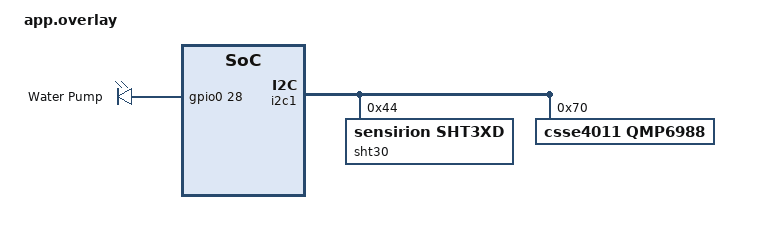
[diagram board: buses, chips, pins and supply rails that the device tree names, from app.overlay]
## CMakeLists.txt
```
# SPDX-License-Identifier: Apache-2.0

cmake_minimum_required(VERSION 3.20.0)

# Custom DTS bindings: add CSSE4011-PROJECT as DTS root only when building
# standalone (outside the firmware west workspace). Inside the workspace,
# firmware/dts/bindings/ is already on the search path — adding it again
# causes a duplicate-compatible conflict.
if(NOT EXISTS "${CMAKE_CURRENT_SOURCE_DIR}/../../dts/bindings")
    list(APPEND DTS_ROOT ${CMAKE_CURRENT_SOURCE_DIR}/..)
endif()

list(APPEND ZEPHYR_EXTRA_MODULES ${CMAKE_CURRENT_SOURCE_DIR}/../drivers)

find_package(Zephyr REQUIRED HINTS $ENV{ZEPHYR_BASE})
project(sensor_node)

list(APPEND CMAKE_MODULE_PATH ${ZEPHYR_BASE}/modules/nanopb)
include(nanopb)

zephyr_nanopb_sources(app ../nanopb_driver/src/sensor_config.proto ../nanopb_driver/src/sensor_info.proto)

FILE(GLOB app_sources src/*.c)
target_sources(app PRIVATE ${app_sources})
target_include_directories(app PRIVATE include ${CMAKE_CURRENT_SOURCE_DIR}/../nanopb_driver/include)
```

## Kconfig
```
# Private config options for nanopb app

# Copyright (c) 2024 Basalte bv
# SPDX-License-Identifier: Apache-2.0

mainmenu "Sensor Node Configs"

config SENSOR_NUM
	int "Number of sensors in system"
	default 3
	help
	  Configure the number of sensors stored.

config MAC_BYTES
    int "Number of bytes in a mac address"
    default 6
    help
        Configure the length in bytes of a mac address

config NUM_READINGS
    int "Number of data readings taken from sensor before erasure of files"
        default 2
        help
            Configure the number of readings taken from sensors before erasing data

config APP_WIPE_STORAGE
	bool "Option to clear the flash area before mounting"
	help
	  Use this to force an existing file system to be created.


source "Kconfig.zephyr"
```

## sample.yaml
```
sample:
  name: sensor_node
  description: Runs a sensor node.

tests:
  sample:
    platform_allow: xiao_ble/nrf52840/sense
    tags: sensor_node
```

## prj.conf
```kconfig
# This is for the NUS BLE.
CONFIG_BT=y
CONFIG_BT_PERIPHERAL=y
CONFIG_BT_DEVICE_NAME="SensorNode"
CONFIG_BT_ZEPHYR_NUS=y
CONFIG_BT_MAX_CONN=1
CONFIG_BT_L2CAP_TX_MTU=247
CONFIG_BT_BUF_ACL_RX_SIZE=251
CONFIG_BT_BUF_ACL_TX_SIZE=251
CONFIG_FPU=y
CONFIG_FPU_SHARING=y
CONFIG_UDC_DRIVER_LOG_LEVEL_OFF=y

# This is for the sensor logic.
CONFIG_SENSOR=y
CONFIG_ADC=y
CONFIG_GPIO=y

# NanoPB
CONFIG_NANOPB=y

# SparkFun soil moisture sensor on AIN0 (P0.02 / D0).
CONFIG_CSSE4011_SOIL=y

# M5Stack ENV III — SHT30 (temp + humidity) + QMP6988 (pressure).
CONFIG_I2C=y
CONFIG_SHT3XD=y
CONFIG_CSSE4011_QMP6988=y


#LittleFS
CONFIG_MAIN_STACK_SIZE=4096

CONFIG_FLASH=y
CONFIG_FLASH_MAP=y

CONFIG_FILE_SYSTEM=y
CONFIG_FILE_SYSTEM_LITTLEFS=y

CONFIG_APP_WIPE_STORAGE=y
CONFIG_DEBUG=y

CONFIG_LOG=y
CONFIG_LOG_MODE_MINIMAL=y
```

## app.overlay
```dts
/ {
    soil1: soil {
        compatible = "csse4011,soil";
        status = "okay";
    };

    /* Water pump on D1 (P0.03) — driven HIGH to turn on */
    pump_ctrl {
        compatible = "gpio-leds";
        pump0: pump_0 {
            gpios = <&gpio0 28 GPIO_ACTIVE_HIGH>;
            label = "Water Pump";
        };
    };

    aliases {
        pump0 = &pump0;
    };
};

&i2c1 {
    status = "okay";

    /* SHT30 — temperature + humidity (Zephyr built-in driver) */
    sht30: sht3xd@44 {
        compatible = "sensirion,sht3xd";
        reg = <0x44>;
    };

    /* QMP6988 — barometric pressure (custom driver) */
    qmp6988: qmp6988@70 {
        compatible = "csse4011,qmp6988";
        reg = <0x70>;
    };
};
```

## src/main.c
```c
#include <zephyr/bluetooth/bluetooth.h>
#include <zephyr/bluetooth/conn.h>
#include <zephyr/bluetooth/uuid.h>
#include <zephyr/bluetooth/gatt.h>
#include <zephyr/bluetooth/services/nus.h>
#include <zephyr/kernel.h>
#include <zephyr/logging/log.h>
#include <zephyr/drivers/sensor.h>
#include <zephyr/drivers/gpio.h>
#include <string.h>
#include "sensor_pb.h"
#include "nanopb_types.h"
#include <sensor_info.pb.h>
#include <sensor_config.pb.h>
#include "sensor_lfs.h"
#include <zephyr/fs/fs.h>
#include <zephyr/fs/littlefs.h>
#include <zephyr/storage/flash_map.h>

LOG_MODULE_REGISTER(sensor_node, LOG_LEVEL_INF);

/* ==========================================================================
 * LED + Pump GPIO
 *   led0 = Red  (automate OFF)
 *   led1 = Green (pump ON)
 *   led0 + led1 = Orange (automate ON, pump OFF)
 *   pump0 = D1 P0.03, HIGH = pump on
 * ========================================================================== */
static const struct gpio_dt_spec led_r  = GPIO_DT_SPEC_GET(DT_ALIAS(led0), gpios);
static const struct gpio_dt_spec led_g  = GPIO_DT_SPEC_GET(DT_ALIAS(led1), gpios);
static const struct gpio_dt_spec pump_pin = GPIO_DT_SPEC_GET(DT_ALIAS(pump0), gpios);

/* Config received from mobile node */
static struct k_mutex g_config_mutex;
static bool    g_automate      = false;
static int32_t g_water_period  = 0;   /* seconds to run pump */
static int32_t g_water_trigger = 0;   /* moisture % threshold to trigger watering */
static bool    g_pump_active   = false;

/* --------------------------------------------------------------------------
 * LED helpers — call while NOT holding any mutex (just GPIO ops)
 * -------------------------------------------------------------------------- */
static void led_state_automate_off(void)
{
	/* Red only */
	gpio_pin_set_dt(&led_r, 1);
	gpio_pin_set_dt(&led_g, 0);
}

static void led_state_automate_on(void)
{
	/* Orange = Red + Green */
	gpio_pin_set_dt(&led_r, 1);
	gpio_pin_set_dt(&led_g, 1);
}

static void led_state_pump_on(void)
{
	/* Green only */
	gpio_pin_set_dt(&led_r, 0);
	gpio_pin_set_dt(&led_g, 1);
}

/* --------------------------------------------------------------------------
 * Pump off — scheduled work item fires after water_period seconds
 * -------------------------------------------------------------------------- */
static void pump_off_work_fn(struct k_work *work)
{
	gpio_pin_set_dt(&pump_pin, 0);
	g_pump_active = false;
	printk("Pump OFF\n");
	/* Return LED to orange (automate still on) */
	led_state_automate_on();
}
static K_WORK_DELAYABLE_DEFINE(pump_off_work, pump_off_work_fn);

/* Turn pump on for 'seconds' seconds — no-op if already running */
static void pump_on(int32_t seconds)
{
	if (g_pump_active) {
		return;
	}
	gpio_pin_set_dt(&pump_pin, 1);
	g_pump_active = true;
	printk("Pump ON for %d seconds (moisture below trigger)\n", seconds);
	led_state_pump_on();
	k_work_schedule(&pump_off_work, K_SECONDS(seconds));
}

/* Custom channel for soil moisture percentage */
#define SENSOR_CHAN_SOIL_MOISTURE ((enum sensor_channel)(SENSOR_CHAN_PRIV_START + 1))

#define SENSOR_READ_INTERVAL_S 30
#define SENSOR_THREAD_STACK    2048 * 2
#define FILE_WRITE_THREAD_STACK 2048 * 2
#define SENSOR_THREAD_PRIO     5
#define FILE_WRITE_THREAD_PRIO 6

//Struct which represents the LittleFS architecture
FS_LITTLEFS_DECLARE_DEFAULT_CONFIG(storage);
static struct fs_mount_t lfs_storage_mnt = {
	.type = FS_LITTLEFS,
	.fs_data = &storage,
	.storage_dev = (void *)FIXED_PARTITION_ID(storage_partition),
	.mnt_point = "/lfs",
};

//Global pointer to the mountpoint
struct fs_mount_t *mountpoint = &lfs_storage_mnt;

//name of the file that past readings are being stored in
static const char *readings_filename = "readings.txt";

//Full path of the file where past readings are being stored
static char readings_path[MAX_PATH_LEN];

//File where past readings are being stored
static struct fs_file_t readings_file;

/* A mutex protects it because the sensor thread writes and the BLE
 * callback reads at the same time. */
static SensorNode g_node = SensorNode_init_zero;
static struct k_mutex g_node_mutex;

//A mutex to guard the file
K_MUTEX_DEFINE(file_mutex);

//A msgq that to send information between a sensor thread and a file writing thread
K_MSGQ_DEFINE(file_write_msgq,
              sizeof(DataReadings),
              10,
              4);

//number of times we have read the sensors
static int num_reads = 0;

/* Set by nus_notif_enabled after a successful BLE send.
 * file_write_thread checks this and truncates the file — keeps flash I/O
 * out of the BLE callback so the connection doesn't time out. */
static atomic_t g_file_needs_clear = ATOMIC_INIT(0);

/* If the readings array is already full (max 24 set by CONFIG_NUM_READINGS),
 * the oldest entry is dropped by shifting everything left so we always
 * keep the most recent data rather than silently discarding new readings. */
static void add_reading(int32_t temp, int32_t humidity,
			int32_t pressure, int32_t moisture)
{
	k_mutex_lock(&g_node_mutex, K_FOREVER);
	pb_size_t max = (pb_size_t)ARRAY_SIZE(g_node.readings);
	if (g_node.readings_count >= max) {
		/* Full — shift left to drop oldest, safe because we own the mutex */
		memmove(&g_node.readings[0], &g_node.readings[1],
			(max - 1) * sizeof(DataReadings));
		g_node.readings_count = max - 1;
	}
	pb_size_t i = g_node.readings_count;
	g_node.readings[i].temp      = temp;
	g_node.readings[i].humidity  = humidity;
	g_node.readings[i].pressure  = pressure;
	g_node.readings[i].moisture  = moisture;
	g_node.readings[i].meas_time = (int32_t)k_uptime_get_32();
	g_node.readings_count++;
	k_mutex_unlock(&g_node_mutex);
}

/* Adds a DataReadings struct directly into g_node — called from file_write_thread
 * so g_node stays in sync without any flash I/O in the BLE callback. */
static void add_reading_data(const DataReadings *r)
{
	k_mutex_lock(&g_node_mutex, K_FOREVER);
	pb_size_t max = (pb_size_t)ARRAY_SIZE(g_node.readings);
	if (g_node.readings_count >= max) {
		memmove(&g_node.readings[0], &g_node.readings[1],
			(max - 1) * sizeof(DataReadings));
		g_node.readings_count = max - 1;
	}
	g_node.readings[g_node.readings_count] = *r;
	g_node.readings_count++;
	k_mutex_unlock(&g_node_mutex);
}

/* ==========================================================================
 * Sensor Thread — reads all sensors every 30 seconds
 * ========================================================================== */
static void sensor_thread_fn(void *a, void *b, void *c)
{
	ARG_UNUSED(a); ARG_UNUSED(b); ARG_UNUSED(c);
	k_sleep(K_SECONDS(SENSOR_READ_INTERVAL_S));
	const struct device *soil    = DEVICE_DT_GET_ANY(csse4011_soil);
	const struct device *sht30   = DEVICE_DT_GET_ANY(sensirion_sht3xd);
	const struct device *qmp6988 = DEVICE_DT_GET_ANY(csse4011_qmp6988);
	if (!device_is_ready(soil)) {
		printk("Soil sensor not ready\n");
	}
	if (!device_is_ready(sht30)) {
		printk("SHT30 not ready\n");
	}
	if (!device_is_ready(qmp6988)) {
		printk("QMP6988 not ready\n");
	}
	while (1) {
		/* Values default to 0 — if a sensor is missing its field
		 * is just 0 in the reading rather than blocking the whole save */
		int32_t moisture_val = 0;
		int32_t temp_val     = 0;
		int32_t humidity_val = 0;
		int32_t pressure_val = 0;

		/* Soil moisture */
		if (device_is_ready(soil)) {
			struct sensor_value moisture;
			if (sensor_sample_fetch(soil) == 0 &&
			    sensor_channel_get(soil, SENSOR_CHAN_SOIL_MOISTURE, &moisture) == 0) {
				moisture_val = moisture.val1;
			}
		}
		/* Temperature + humidity from SHT30 */
		if (device_is_ready(sht30)) {
			struct sensor_value temp, humidity;
			if (sensor_sample_fetch(sht30) == 0) {
				sensor_channel_get(sht30, SENSOR_CHAN_AMBIENT_TEMP, &temp);
				sensor_channel_get(sht30, SENSOR_CHAN_HUMIDITY,     &humidity);
				temp_val     = temp.val1 * 100 + temp.val2 / 10000;
				humidity_val = humidity.val1;
			}
		}
		/* Pressure from QMP6988 */
		if (device_is_ready(qmp6988)) {
			struct sensor_value pressure;
			if (sensor_sample_fetch(qmp6988) == 0 &&
			    sensor_channel_get(qmp6988, SENSOR_CHAN_PRESS, &pressure) == 0) {
				pressure_val = pressure.val1 * 1000 + pressure.val2 / 1000;
				// LOG_INF("pressure: %d\n", pressure_val);
			}
		}
		//make a DataReadings struct
		DataReadings reading = DataReadings_init_zero;
		//Put the values into the struct
		reading.temp = temp_val;
		reading.humidity = humidity_val;
		reading.pressure = pressure_val;
		reading.moisture = moisture_val;
		reading.meas_time = (int32_t)k_uptime_get_32();
		//send the readings to the writing thread
		k_msgq_put(&file_write_msgq, &reading, K_NO_WAIT);
		/* Check if automate is on and moisture is below trigger threshold */
		k_mutex_lock(&g_config_mutex, K_FOREVER);
		bool   automate = g_automate;
		int32_t trigger = g_water_trigger;
		int32_t period  = g_water_period;
		k_mutex_unlock(&g_config_mutex);
		if (automate && moisture_val < trigger) {
			printk("Moisture %d%% < trigger %d%% — activating pump\n",
			       moisture_val, trigger);
			pump_on(period);
		}
		k_sleep(K_SECONDS(SENSOR_READ_INTERVAL_S));
	}
}

K_THREAD_DEFINE(sensor_thread, SENSOR_THREAD_STACK,
		sensor_thread_fn, NULL, NULL, NULL,
		SENSOR_THREAD_PRIO, 0, 0);


/*=============================================================
 * File Writing Thread - writes past sensor readings to a file
 * and deletes old data if too much information has been stored
 ==============================================================*/
 
static void file_write_thread_fn(void *a, void *b, void *c) {
	ARG_UNUSED(a); ARG_UNUSED(b); ARG_UNUSED(c);
	// what we need when we read.
	DataReadings to_write = DataReadings_init_zero;
	while(1) {
		/* BLE send completed — truncate file here (not in BLE callback) */
		if (atomic_cas(&g_file_needs_clear, 1, 0)) {
			k_mutex_lock(&file_mutex, K_FOREVER);
			int cerr = sensor_lfs_file_truncate((void*)(&readings_file), readings_path);
			if (cerr < 0) {
				LOG_ERR("Failed to truncate readings file after BLE send\n");
			} else {
				num_reads = 0;
				printk("Readings file cleared after send\n");
			}
			k_mutex_unlock(&file_mutex);
		}
		if (num_reads >= CONFIG_NUM_READINGS) {
			// LOG_INF("Entering File Reset Block\n");
			//lock the mutex for the file
			k_mutex_lock(&file_mutex, K_FOREVER);

			//truncate the file
			int err = sensor_lfs_file_truncate((void*)(&readings_file), readings_path);
			if (err < 0) {
				LOG_ERR("Sensor Thread failed to truncate readings file\n");
			}

			k_mutex_unlock(&file_mutex);
			num_reads = 0;
		}
		//wait on the queue
		k_msgq_get(&file_write_msgq, &to_write, K_FOREVER);
		//write this information into the file
		k_mutex_lock(&file_mutex, K_FOREVER);
		int err = sensor_lfs_write_to_file((void*)(&readings_file), readings_path, (void*)(&to_write));
		if (err < 0) {
			LOG_ERR("Write thread failed to write to file\n");
		} else {
			printk("Reading saved (%d/%d) — temp=%d humidity=%d moisture=%d pressure=%d measured_time=%d\n",
			       num_reads + 1, CONFIG_NUM_READINGS,
			       to_write.temp, to_write.humidity, to_write.moisture, to_write.pressure, to_write.meas_time);
		}
		k_mutex_unlock(&file_mutex);
		/* Keep g_node in sync so BLE callback never needs to read the file */
		add_reading_data(&to_write);
		//increase the number of times we have sampled data
		num_reads++;
	}
}

K_THREAD_DEFINE(file_write_thread, FILE_WRITE_THREAD_STACK,
		file_write_thread_fn, NULL, NULL, NULL,
		FILE_WRITE_THREAD_PRIO, 0, 0);

/* ==========================================================================
 * BLE
 * ========================================================================== */
#define DEVICE_NAME     CONFIG_BT_DEVICE_NAME
#define DEVICE_NAME_LEN (sizeof(DEVICE_NAME) - 1)

static const struct bt_data ad[] = {
	BT_DATA_BYTES(BT_DATA_FLAGS, (BT_LE_AD_GENERAL | BT_LE_AD_NO_BREDR)),
	BT_DATA(BT_DATA_NAME_COMPLETE, DEVICE_NAME, DEVICE_NAME_LEN),
};

static const struct bt_data sd[] = {
	BT_DATA_BYTES(BT_DATA_UUID128_ALL, BT_UUID_NUS_SRV_VAL),
};

/* ==========================================================================
 * NUS RX Callback
 * ========================================================================== */
static void nus_received(struct bt_conn *conn, const void *data, uint16_t len,
			 void *ctx)
{
	/* Decode incoming bytes as a SensorConfig protobuf from the mobile node */
	SensorConfig config = SensorConfig_init_zero;
	int ret = sensor_decode_function((uint8_t *)data, len, SENSOR_CONFIG, &config);
	if (ret != 0) {
		LOG_ERR("Failed to decode SensorConfig");
		return;
	}
	printk("Config received — automate=%d water_period=%d water_trigger=%d\n",
	       config.automate, config.water_period, config.water_trigger);
	/* Apply config: store values and update LED state */
	k_mutex_lock(&g_config_mutex, K_FOREVER);
	g_automate      = config.automate;
	g_water_period  = config.water_period;
	g_water_trigger = config.water_trigger;
	k_mutex_unlock(&g_config_mutex);
	/* Update LED — don't change if pump is already running */
	if (!g_pump_active) {
		if (config.automate) {
			led_state_automate_on();   /* Orange */
		} else {
			led_state_automate_off();  /* Red */
		}
	}
}

static void nus_notif_enabled(bool enabled, void *ctx)
{
	if (!enabled) {
		return;
	}
	printk("Mobile subscribed - sending sensor data\n");
	/* Only lock g_node_mutex — no flash I/O here.
	 * g_node is kept up to date by file_write_thread via add_reading_data(). */
	k_mutex_lock(&g_node_mutex, K_FOREVER);
	/* Stamp the time this connection happened so the mobile node knows
	 * the uptime reference point for all the meas_time values */
	g_node.sensor_sees_mobile = (int32_t)k_uptime_get();
	/* static so it lives in BSS not on the BLE callback stack (1387 bytes) */
	static uint8_t buf[SensorNode_size];
	size_t  len = 0;
	int ret = sensor_encode(buf, sizeof(buf), &len, SENSOR_NODE, &g_node);
	int sent_count = (int)g_node.readings_count;
	if (ret == 0) {
		g_node.readings_count = 0;
		/* Signal file_write_thread to truncate the file (no flash I/O here) */
		atomic_set(&g_file_needs_clear, 1);
	}
	k_mutex_unlock(&g_node_mutex);
	if (ret != 0) {
		printk("Encode failed\n");
		return;
	}
	int err = bt_nus_send(NULL, buf, len);
	if (err) {
		printk("Send failed (err %d)\n", err);
	} else {
		printk("Sent %d bytes (%d readings)\n", (int)len, sent_count);
	}
}

static struct bt_nus_cb nus_cb = {
	.received      = nus_received,
	.notif_enabled = nus_notif_enabled,
};

/* ==========================================================================
 * Advertising restart work
 * ========================================================================== */
static void adv_restart_work_fn(struct k_work *work)
{
	int err = bt_le_adv_start(BT_LE_ADV_CONN_FAST_1, ad, ARRAY_SIZE(ad), sd, ARRAY_SIZE(sd));
	if (err) {
		printk("Failed to restart advertising (err %d)\n", err);
	} else {
		printk("Advertising restarted, waiting for mobile...\n");
	}
}

static K_WORK_DELAYABLE_DEFINE(adv_restart_work, adv_restart_work_fn);

/* ==========================================================================
 * Connection Callbacks
 * ========================================================================== */
static void connected(struct bt_conn *conn, uint8_t err)
{
	if (err) {
		LOG_ERR("Connection failed (err %d)", err);
		return;
	}
	printk("Mobile connected, waiting for subscription...\n");
}

static void disconnected(struct bt_conn *conn, uint8_t reason)
{
	printk("Disconnected (reason 0x%02x) - restarting advertising in 1s...\n", reason);
	k_work_schedule(&adv_restart_work, K_MSEC(1000));
}

BT_CONN_CB_DEFINE(conn_callbacks) = {
	.connected    = connected,
	.disconnected = disconnected,
};

/* ==========================================================================
 * Main
 * ========================================================================== */
int main(void)
{
	printk("=== Sensor Node Starting ===\n");
	/* Initialise mutexes */
	k_mutex_init(&g_node_mutex);
	k_mutex_init(&g_config_mutex);
	/* Configure LEDs and pump GPIO */
	gpio_pin_configure_dt(&led_r,    GPIO_OUTPUT_INACTIVE);
	gpio_pin_configure_dt(&led_g,    GPIO_OUTPUT_INACTIVE);
	int pump_err = gpio_pin_configure_dt(&pump_pin, GPIO_OUTPUT_INACTIVE);
	if (pump_err < 0) {
		printk("Pump GPIO error num: %d\n", pump_err);
	}
	/* Start with Red — automate off until config received */
	led_state_automate_off();
	int err = bt_nus_cb_register(&nus_cb, NULL);
	if (err) {
		printk("Failed to register NUS callbacks: %d\n", err);
		return err;
	}
	// Set up BT.
	err = bt_enable(NULL);
	if (err) {
		printk("Failed to enable bluetooth: %d\n", err);
		return err;
	}
	// Set up the file system.
	int f_err = sensor_lfs_init((void*)mountpoint, (void*)(&readings_file), readings_filename, readings_path);
	if (f_err < 0) {
		printk("Failed to initialise the LittleFS\n");
		return f_err;
	}
	// Print the nodes address.
	bt_addr_le_t addr;
	size_t count = 1;
	bt_id_get(&addr, &count);
	memcpy(g_node.mac_address, addr.a.val, sizeof(g_node.mac_address));
	//transfer anything that was on the file onto g_node
	k_mutex_lock(&file_mutex, K_FOREVER);
	k_mutex_lock(&g_node_mutex, K_FOREVER);
	// Reading readings file to g_node.
	int ret = sensor_lfs_read_from_file(&readings_file, readings_path, &g_node);
	if (ret < 0) {
		printk("Error when reading readings file to g_node from boot\n");
	}
	// Truncate after reading from the stored stuff.
	int cerr = sensor_lfs_file_truncate((void*)(&readings_file), readings_path);
	if (cerr < 0) {
		LOG_ERR("Failed to truncate readings file after boot\n");
	}
	k_mutex_unlock(&g_node_mutex);
	k_mutex_unlock(&file_mutex);
	k_sleep(K_SECONDS(3));
	err = bt_le_adv_start(BT_LE_ADV_CONN_FAST_1, ad, ARRAY_SIZE(ad), sd, ARRAY_SIZE(sd));
	if (err) {
		printk("Failed to start advertising: %d\n", err);
		return err;
	}
	LOG_INF("Sensor node advertising, waiting for mobile...");
	while (1) {
		k_sleep(K_FOREVER);
	}
	return 0;
}
```

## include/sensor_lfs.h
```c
#ifndef SENSOR_LFS_H
#define SENSOR_LFS_H

#define MAX_PATH_LEN 255
#define INT32_MAX_WIDTH 11
#define SENSOR_CSV_LINE_LENGTH 61

int sensor_lfs_init(void* mp, void* file, char* file_name, char *full_path);
int sensor_lfs_write_to_file(void* file, char* filename, void* sensor_readings);
int sensor_lfs_file_truncate(void* file, char *full_path);
int sensor_lfs_read_from_file(void* file, char* filename, void* sensor_node);

#endif
```

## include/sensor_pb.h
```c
#ifndef SENSOR_PB_H
#define SENSOR_PB_H

int sensor_encode(uint8_t *buffer, size_t buffer_size, size_t *message_length, uint8_t type, void* message);
int sensor_decode_function(uint8_t *buffer, size_t message_length, uint8_t type, void* message);


#endif
```

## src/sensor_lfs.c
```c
#include <zephyr/kernel.h>
#include <zephyr/device.h>
#include <zephyr/fs/fs.h>
#include <zephyr/fs/littlefs.h>
#include <zephyr/logging/log.h>
#include <zephyr/storage/flash_map.h>
#include <stdio.h>
#include <string.h>
#include <stddef.h>
#include "nanopb_types.h"
#include <sensor_config.pb.h>
#include <sensor_info.pb.h>
#include "sensor_lfs.h"

static int make_file(struct fs_mount_t *mountpoint, struct fs_file_t *readings, char* file_name, char* full_path);
static int littlefs_flash_erase(unsigned int id);
static int littlefs_mount(struct fs_mount_t *mp);
static void add_reading(SensorNode *sensor, int32_t temp, int32_t humidity,
			int32_t pressure, int32_t moisture, int32_t meas_time);
static int make_file(struct fs_mount_t *mountpoint, struct fs_file_t *readings, char* file_name, char *full_path);

LOG_MODULE_REGISTER(main);

/***************************************************************************************
 * Initialises the file system for the Sensor Node
 * 
 * @param mp The mountpoint of the LittleFS
 * @param file The file where past sensor readings are to be stored
 * @param file_name The name of the file where past readings will be stored
 * @param full_path The complete path location of the readings file for the Sensor Node
 * 
 * @return 0 if successful, -1 if unsuccessful
 ****************************************************************************************/

int sensor_lfs_init(void* mp, void* file, char* file_name, char *full_path) {
    
    int rc;

	struct fs_mount_t *mountpoint = mp;
	struct fs_file_t *readings = file;

    //Mount the file
    rc = littlefs_mount(mountpoint);
    if (rc < 0) {
        LOG_ERR("Failed to mount Sensor Node FS\n");
		return -1;
    }

	//initialise the file
    fs_file_t_init(readings);

	//Buffer for storing the full filepath of the file storing past readings
	char path[MAX_PATH_LEN];

	//Creat the full filepath to the file containing past readings
	snprintf(path, sizeof(path), "%s/readings.txt", mountpoint->mnt_point);
	
	// LOG_PRINTK("mountpoint path: %s\n", path);

	//Construct the file which will hold all past sensor readings
	make_file(mountpoint, readings, file_name, full_path);

	return 0;
}

/***************************************************************************************
 * Constructs a new file for the LittleFS architecture on the Sensor Node
 * 
 * @param mountpoint The LittleFS mountpoint
 * @param readings The file where past Sensor Node readings shall be stored
 * @param file_name The name of the file where past Sensor Node readings shall be stored
 * @param full_path The full path to the file storing past Sensor Node readings
 * 
 * @return 0 if successful, -1 if unsuccessful
 *****************************************************************************************/

static int make_file(struct fs_mount_t *mountpoint, struct fs_file_t *readings,
	 char* file_name, char *full_path) {

    char path_name[MAX_PATH_LEN];
	int rc;
    //create the new file name
    snprintf(path_name, sizeof(path_name), "%s/readings.txt", mountpoint->mnt_point);

    //initialise the file
    fs_file_t_init(readings);

     //open the file
    rc = fs_open(readings, path_name, (FS_O_RDWR | FS_O_CREATE));
    if (rc < 0) {
        LOG_ERR("Error opening sensor readings file during initialisation: %d\n", rc);
		return -1;
    }

    //close the file immediately after creating it
    rc = fs_close(readings);

    if (rc < 0) {
        LOG_ERR("Error closing sensor readings file during initialisation: %d\n", rc);
		return -1;
    }

	// read the resulting file name back to the full_path defined outside of this file
	snprintf(full_path, MAX_PATH_LEN, "%s", path_name);

	return 0;
}


/***************************************************************************
 * Erases the flash block that the LittleFS architecture is located on.
 * LittleFS stays on MCU through boot cycles, so if wanting to start fresh,
 * this function must be called
 * 
 * @param id The identification number of a given LittleFS architecture
 * 
 * @return 0 if successful, <0 if unsuccessful
 ***************************************************************************/

static int littlefs_flash_erase(unsigned int id)
{
	const struct flash_area *pfa;
	int rc;

	rc = flash_area_open(id, &pfa);
	if (rc < 0) {
		LOG_ERR("FAIL: unable to find flash area %u: %d\n",
			id, rc);
		return rc;
	}

	// LOG_PRINTK("Area %u at 0x%x on %s for %u bytes\n",
	// 	   id, (unsigned int)pfa->fa_off, pfa->fa_dev->name,
	// 	   (unsigned int)pfa->fa_size);

	/* Optional wipe flash contents */
	if (IS_ENABLED(CONFIG_APP_WIPE_STORAGE)) {
		rc = flash_area_flatten(pfa, 0, pfa->fa_size);
		LOG_ERR("Erasing flash area ... %d", rc);
	}

	flash_area_close(pfa);
	return rc;
}

/**********************************************************
 * Mounts a LittleFS architecture on the MCU
 * 
 * @param mp The mount point of the LittleFS architecture
 * 
 * @return 0 if successful, -1 if unsuccessful
 ***********************************************************/

static int littlefs_mount(struct fs_mount_t *mp)
{
	int rc;

	rc = littlefs_flash_erase((uintptr_t)mp->storage_dev);
	if (rc < 0) {
		return rc;
	}
    
	rc = fs_mount(mp);
	if (rc < 0) {
		// LOG_PRINTK("FAIL: mount id %" PRIuPTR " at %s: %d\n",
		//        (uintptr_t)mp->storage_dev, mp->mnt_point, rc);
		return rc;
	}
	// LOG_PRINTK("%s mount: %d\n", mp->mnt_point, rc);

	return 0;
}

/*********************************************************************
 * Write information from a SensorReadings struct into a file
 * 
 * @param file The file where past readings are stored
 * @param filename The full filepath of the past readings file
 * @param sensor_readings The DataReadings struct full of newest data
 * 
 * @return 0 if successful, -1 if unsuccessful
 **********************************************************************/

int sensor_lfs_write_to_file(void* file, char* filename, void* sensor_readings) {
	
	//Cast file and DataReadings struct to correct forms
	struct fs_file_t *readings = file;
	DataReadings *data = sensor_readings;

	//open the file for writing, and begin writing from the end of the file
	fs_open(readings, filename, (FS_O_WRITE | FS_O_APPEND));

	//destination string
    char measurements[SENSOR_CSV_LINE_LENGTH];

	//send all the information from the struct to the buffer using zero padding
    snprintf(measurements,
         sizeof(measurements),
         "%0*d,%0*d,%0*d,%0*d,%0*d\n",
         INT32_MAX_WIDTH, data->temp,
         INT32_MAX_WIDTH, data->humidity,
         INT32_MAX_WIDTH, data->pressure,
         INT32_MAX_WIDTH, data->moisture,
         INT32_MAX_WIDTH, data->meas_time);
	
	// LOG_INF("Written to file: %s\n", measurements);

	//write the new entry to the file
    if (fs_write(readings, (void *)measurements, strlen(measurements)) < 0) {
        printk("Error when writing data to SensorNode file\n");
		return -1;
    }

    //close the file
    fs_close(readings);

	return 0;
}

/********************************************************************************************
 * Reads from the file containing past readings into a SensorNode
 * struct representing all past readings for a particular Sensor Node
 * 
 * @param file The file containing all past Sensor Node readings
 * @param filename The full path to the file containing past readings
 * @param sensor_node The SensorNode struct where info from past readings file will be read to
 * 
 * @return 0 if successful, -1 if unsuccessful
 *********************************************************************************************/

int sensor_lfs_read_from_file(void* file, char* filename, void* sensor_node) {

	struct fs_file_t *readings = file;
	SensorNode *sensor = sensor_node;

	//open the file for reading
	fs_open(readings, filename, FS_O_READ);

	//make a buffer to read into
	char buf[SENSOR_CSV_LINE_LENGTH];

	//loop through and read all the contents of the file
	while (1) {

		//fields to read data from file to
		int32_t temp = 0;
		int32_t humidity = 0;
		int32_t pressure = 0;
		int32_t moisture = 0;
		int32_t meas_time = 0;

		//read a line from the file
		ssize_t len = fs_read(readings, buf, sizeof(buf) - 1);

		if (len <= 0) {
			break;
		}

		//Insert the null pointer for string stuff
		buf[len] = '\0'; 

		//split into lines
		char *line = strtok(buf, "\n");

		while (line != NULL) {
			// LOG_INF("Line seen in file: %s\n", line);
			//scan the preformatted line into the buffer
			int scanned = sscanf(line, "%d,%d,%d,%d,%d", &temp, &humidity, &pressure, &moisture, &meas_time);
			//check to see that we scanned the right amount of things in
			// if (scanned == 5) {
			// 	printk("Successful DataReadings line read\n");
			// } else {
			// 	printk("Unsuccessful DataReadings line read\n");
			// }
			//populate the sensorNodes struct
			add_reading(sensor, temp, humidity, pressure, moisture, meas_time);
			line = strtok(NULL, "\n");
		}
	}

	fs_close(readings);

	return 0;
}

/*************************************************************************
 * Truncates the Sensor Node's readings file, deleting old values
 * 
 * @param file The file where past sensor readings are stored
 * @param full_path The full path name of the file storing past readings
 * 
 * @return 0 if successful, -1 if unsuccessful
 **************************************************************************/

int sensor_lfs_file_truncate(void* file, char *full_path) {
	
	struct fs_file_t *readings = file;
	int rc;

	//Open the file for reading and writing
	rc = fs_open(readings, full_path, FS_O_RDWR);
	if (rc < 0) {
		LOG_ERR("failed to open file while truncating\n");
		return -1;
	}

	//Truncate the file to 0 bytes
	rc = fs_truncate(readings, 0);
	if (rc < 0) {
		LOG_ERR("failed to truncate file while truncating\n");
		return -1;
	}

	//close the file
	fs_close(readings);

	return 0;
}

/******************************************************************
 * Adds a DataReadings struct to a SensorNode struct, 
 * deleting old data if the maximum number of readings is exceeded
 * 
 * @param sensor The SensorNode struct that is being read into
 * @param temp New temperature reading
 * @param humidity New humidity reading
 * @param pressure New pressure reading
 * @param moisture New moisture reading
 * @param meas_time Time at which readings above were taken
 *******************************************************************/

static void add_reading(SensorNode *sensor, int32_t temp, int32_t humidity,
			int32_t pressure, int32_t moisture, int32_t meas_time)
{
	pb_size_t max = (pb_size_t)ARRAY_SIZE(sensor->readings);

	if (sensor->readings_count >= max) {
		/* Full — shift left to drop oldest, safe because we own the mutex */
		memmove(&sensor->readings[0], &sensor->readings[1],
			(max - 1) * sizeof(DataReadings));
		sensor->readings_count = max - 1;
	}

	pb_size_t i = sensor->readings_count;
	sensor->readings[i].temp      = temp;
	sensor->readings[i].humidity  = humidity;
	sensor->readings[i].pressure  = pressure;
	sensor->readings[i].moisture  = moisture;
	sensor->readings[i].meas_time = meas_time;
	sensor->readings_count++;

	// printk("Reading added (%d/%d)\n", sensor->readings_count, max);
}
```

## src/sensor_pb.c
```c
#include <sensor_config.pb.h>
#include <sensor_info.pb.h>
#include <pb_encode.h>
#include <pb_decode.h>
#include <string.h>
#include <stdlib.h>
#include <stdio.h>
#include <stddef.h>
#include "sensor_pb.h"
#include <zephyr/kernel.h>
#include "nanopb_types.h"

static bool encode_sensor_node(uint8_t *buffer, size_t buffer_size, size_t *message_length, void *message);
static bool decode_sensor_config(uint8_t *buffer, size_t message_length, void* message);

//Testing only
static bool decode_sensor_node(uint8_t *buffer, size_t message_length, void* message);
static bool decode_all_configs(uint8_t *buffer, size_t message_length, void* message);


/************************************************
 *  Entry function for encoding of structs relevant to the Sensor node
 * 
 * @param buffer a buffer which the encoded struct bytes will be written to
 * @param buffer_size Space available in the buffer to write to, overflows will trigger a streaming error
 * @param message_length the number of bytes read into the buffer during streaming process
 * @param type the type of struct that should be encoded
 * @param message Pointer to the struct to encode
 *************************************************/

int sensor_encode(uint8_t *buffer, size_t buffer_size, size_t *message_length, uint8_t type, void* message) {
    if (type == SENSOR_NODE) {
        //Call the sensor node encode function
        if (encode_sensor_node(buffer, buffer_size, message_length, message)) {
            return 0;
        } else {
            return -1;
        }
    } else {
        //error, incorrect type passed, print errorr and return -1
        printk("Incorrect struct type given to sensor message encoding\n");
        return -1;
    }
}

/************************************************
 *  Encoder function for struct of SensorNode type
 * 
 * @param buffer a buffer which the encoded struct bytes will be read into
 * @param buffer_size Space available in the buffer to write to, overflows will trigger a streaming error
 * @param message_length the number of bytes read into the buffer during streaming process
 * @param message Pointer to the struct to encode
 *************************************************/

static bool encode_sensor_node(uint8_t *buffer, size_t buffer_size, size_t *message_length, void *message) {
    bool status;

    //Grab the correct type of struct
    SensorNode *sensor = message;

	/* Create a stream that will write to our buffer. */
	pb_ostream_t stream = pb_ostream_from_buffer(buffer, buffer_size);
	
	/* Now we are ready to encode the message! */
	status = pb_encode(&stream, SensorNode_fields, sensor);
	*message_length = stream.bytes_written;
	printk("Number of SensorNode bytes written: %d\n", (int) stream.bytes_written);

printk("\n");

	if (!status) {
		printk("Encoding SensorNode struct failed: %s\n", PB_GET_ERROR(&stream));
	} else {
        printk("SensorNode struct encoded\n");
        
    }

	return status;
}

/************************************************
 *  Entry function for decoding of structs relevant to the Sensor node
 * 
 * @param buffer a buffer which the encoded struct bytes will be read from
 * @param message_length the number of bytes to read from the buffer
 * @param type the type of struct that should be decoded
 * @param message Pointer to the struct to write decoded information to
 *************************************************/

int sensor_decode_function(uint8_t *buffer, size_t message_length, uint8_t type, void* message) {
    if (type == SENSOR_CONFIG) {
        //do the sensor config decoding
        decode_sensor_config(buffer, message_length, message);
        return 0;
    } else {
        //error
        printk("Incorrect struct type given to sensor message decoding\n");
        return -1;
    }
}

/************************************************
 *  Decoder function for SensorConfig type struct
 * 
 * @param buffer a buffer which the encoded struct bytes will be read from
 * @param message_length the number of bytes to read from the buffer
 * @param message Pointer to the struct to write decoded information to
 *************************************************/

static bool decode_sensor_config(uint8_t *buffer, size_t message_length, void* message) {
    bool status;
    //assume that we are being passed a struct that has been initialised properly
	SensorConfig *config = message;

	/* Create a stream that reads from the buffer. */
	pb_istream_t stream = pb_istream_from_buffer(buffer, message_length);

	/* Now we are ready to decode the message. */
	status = pb_decode(&stream, SensorConfig_fields, config);

	/* Check for errors... */
	if (status) {
		/* Print the data contained in the message. */
		printk("Successfully Decoded SensorConfig struct");
		printk("\n");
		pb_release(SensorConfig_fields, config);
	} else {
		printk("Decoding SensorConfig struct failed: %s\n", PB_GET_ERROR(&stream));
	}

	return status;
}






/////////// For testing only ///////////////////////////

/************************************************
 *  Entry function for decoding of structs relevant to the mobile node
 * 
 * @param buffer a buffer which the encoded struct bytes will be read from
 * @param message_length the number of bytes to read from the buffer
 * @param type the type of struct that should be decoded
 * @param message Pointer to the struct to write decoded information to
 *************************************************/

int mobile_decode(uint8_t *buffer, size_t message_length, uint8_t type, void* message) {
    if (type == SENSOR_NODE) {
        //sensor node decode function
        if (decode_sensor_node(buffer, message_length, message)) {
            return 0;
        } else {
            return -1;
        }
    } else if (type == ALL_CONFIGS) {
        //all configs struct decoding functionality
        if (decode_all_configs(buffer, message_length, message)) {
            return 0;
        } else {
            return -1;
        }
    } else {
        //error, wrong struct type passed to the mobile decode function
        printk("Incorrect struct type given to mobile message decoding\n");
        return -1;
    }
}

/************************************************
 *  Decoder function for SensorNode type struct
 * 
 * @param buffer a buffer which the encoded struct bytes will be read from
 * @param message_length the number of bytes to read from the buffer
 * @param message Pointer to the struct to write decoded information to
 *************************************************/

static bool decode_sensor_node(uint8_t *buffer, size_t message_length, void* message) {
    bool status;

	//assume that we are being passed a struct that has been initialised properly
	SensorNode *sensor = message;

	/* Create a stream that reads from the buffer. */
	pb_istream_t stream = pb_istream_from_buffer(buffer, message_length);

	/* Now we are ready to decode the message. */
	status = pb_decode(&stream, SensorNode_fields, sensor);

	/* Check for errors... */
	if (status) {
		/* Print the data contained in the message. */
		printk("Successfully Decoded SensorNode struct");
		printk("\n");
		pb_release(SensorNode_fields, sensor);
	} else {
		printk("Decoding SensorNode struct failed: %s\n", PB_GET_ERROR(&stream));
        printk("Bytes consumed while decoding SensorNode: %d\n", (int)stream.bytes_left);
        size_t position = message_length - stream.bytes_left;
        printk("Failure at byte index: %d\n", position);

        for (int i = position - 8; i < position + 8; i++) {
            if (i >= 0 && i < message_length) {
            printk("%02X ", buffer[i]);
            }
        }
        printk("\n");
	}

	return status;
}

/************************************************
 *  Decoder function for AllConfigs type struct
 * 
 * @param buffer a buffer which the encoded struct bytes will be read from
 * @param message_length the number of bytes to read from the buffer
 * @param message Pointer to the struct to write decoded information to
 *************************************************/

static bool decode_all_configs(uint8_t *buffer, size_t message_length, void* message) {
    bool status;

	//assume that we are being passed a struct that has been initialised properly
	AllConfigs *configs = message;

	/* Create a stream that reads from the buffer. */
	pb_istream_t stream = pb_istream_from_buffer(buffer, message_length);

	/* Now we are ready to decode the message. */
	status = pb_decode(&stream, AllConfigs_fields, configs);

	/* Check for errors... */
	if (status) {
		/* Print the data contained in the message. */
		printk("Successfully Decoded AllConfigs struct\n");
		printk("\n");
		pb_release(AllConfigs_fields, configs);
	} else {
		printk("Decoding AllConfigs struct failed: %s\n", PB_GET_ERROR(&stream));
	}

	return status;
}
```
